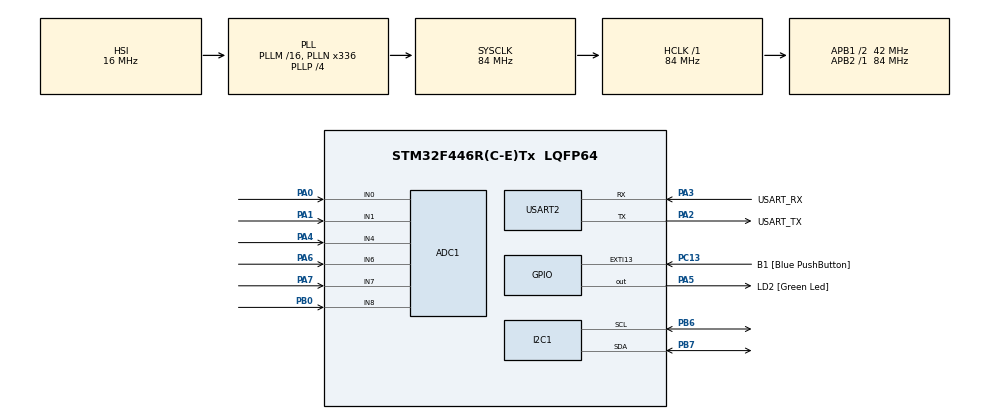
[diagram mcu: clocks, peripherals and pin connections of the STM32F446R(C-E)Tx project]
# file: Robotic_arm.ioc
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ADC1.Channel-0\#ChannelRegularConversion=ADC_CHANNEL_0
ADC1.Channel-1\#ChannelRegularConversion=ADC_CHANNEL_1
ADC1.Channel-2\#ChannelRegularConversion=ADC_CHANNEL_4
ADC1.Channel-3\#ChannelRegularConversion=ADC_CHANNEL_6
ADC1.Channel-4\#ChannelRegularConversion=ADC_CHANNEL_7
ADC1.Channel-5\#ChannelRegularConversion=ADC_CHANNEL_8
ADC1.ContinuousConvMode=DISABLE
ADC1.NbrOfConversion=6
ADC1.NbrOfConversionFlag=1
ADC1.Rank-0\#ChannelRegularConversion=1
ADC1.Rank-1\#ChannelRegularConversion=2
ADC1.Rank-2\#ChannelRegularConversion=3
ADC1.Rank-3\#ChannelRegularConversion=4
ADC1.Rank-4\#ChannelRegularConversion=5
ADC1.Rank-5\#ChannelRegularConversion=6
ADC1.SamplingTime-0\#ChannelRegularConversion=ADC_SAMPLETIME_480CYCLES
ADC1.SamplingTime-1\#ChannelRegularConversion=ADC_SAMPLETIME_480CYCLES
ADC1.SamplingTime-2\#ChannelRegularConversion=ADC_SAMPLETIME_480CYCLES
ADC1.SamplingTime-3\#ChannelRegularConversion=ADC_SAMPLETIME_480CYCLES
ADC1.SamplingTime-4\#ChannelRegularConversion=ADC_SAMPLETIME_480CYCLES
ADC1.SamplingTime-5\#ChannelRegularConversion=ADC_SAMPLETIME_480CYCLES
ADC1.ScanConvMode=ENABLE
ADC1.master=1
Dma.ADC1.0.Direction=DMA_PERIPH_TO_MEMORY
Dma.ADC1.0.FIFOMode=DMA_FIFOMODE_DISABLE
Dma.ADC1.0.Instance=DMA2_Stream0
Dma.ADC1.0.MemDataAlignment=DMA_MDATAALIGN_HALFWORD
Dma.ADC1.0.MemInc=DMA_MINC_ENABLE
Dma.ADC1.0.Mode=DMA_CIRCULAR
Dma.ADC1.0.PeriphDataAlignment=DMA_PDATAALIGN_HALFWORD
Dma.ADC1.0.PeriphInc=DMA_PINC_DISABLE
Dma.ADC1.0.Priority=DMA_PRIORITY_LOW
Dma.Request0=ADC1
Mcu.Family=STM32F4
Mcu.Name=STM32F446R(C-E)Tx
Mcu.Package=LQFP64
NVIC.DMA2_Stream0_IRQn=true\:0\:0\:false\:false\:true\:false\:true\:true
NVIC.PriorityGroup=NVIC_PRIORITYGROUP_0
PA0-WKUP.Signal=ADCx_IN0
PA1.Signal=ADCx_IN1
PA13.GPIO_Label=TMS
PA13.Mode=Serial_Wire
PA13.Signal=SYS_JTMS-SWDIO
PA14.GPIO_Label=TCK
PA14.Mode=Serial_Wire
PA14.Signal=SYS_JTCK-SWCLK
PA2.GPIO_Label=USART_TX
PA2.Mode=Asynchronous
PA2.Signal=USART2_TX
PA3.GPIO_Label=USART_RX
PA3.Mode=Asynchronous
PA3.Signal=USART2_RX
PA4.Signal=ADCx_IN4
PA5.GPIO_Label=LD2 [Green Led]
PA5.Signal=GPIO_Output
PA6.Signal=ADCx_IN6
PA7.Signal=ADCx_IN7
PB0.Signal=ADCx_IN8
PB3.GPIO_Label=SWO
PB3.Signal=SYS_JTDO-SWO
PB6.Mode=I2C
PB6.Signal=I2C1_SCL
PB7.Mode=I2C
PB7.Signal=I2C1_SDA
PC13.GPIO_Label=B1 [Blue PushButton]
PC13.GPIO_ModeDefaultEXTI=GPIO_MODE_IT_FALLING
PC13.Signal=GPXTI13
PC14-OSC32_IN.Mode=LSE-External-Oscillator
PC14-OSC32_IN.Signal=RCC_OSC32_IN
PC15-OSC32_OUT.Mode=LSE-External-Oscillator
PC15-OSC32_OUT.Signal=RCC_OSC32_OUT
PH0-OSC_IN.Mode=HSE-External-Oscillator
PH0-OSC_IN.Signal=RCC_OSC_IN
PH1-OSC_OUT.Mode=HSE-External-Oscillator
PH1-OSC_OUT.Signal=RCC_OSC_OUT
ProjectManager.HeapSize=0x200
ProjectManager.StackSize=0x400
ProjectManager.TargetToolchain=STM32CubeIDE
RCC.48MHZClocksFreq_Value=84000000
RCC.AHBFreq_Value=84000000
RCC.APB1CLKDivider=RCC_HCLK_DIV2
RCC.APB1Freq_Value=42000000
RCC.APB1TimFreq_Value=84000000
RCC.APB2Freq_Value=84000000
RCC.APB2TimFreq_Value=84000000
RCC.CortexFreq_Value=84000000
RCC.FLatency-AdvancedSettings=FLASH_LATENCY_2
RCC.HCLKFreq_Value=84000000
RCC.HSE_VALUE=8000000
RCC.HSI_VALUE=16000000
RCC.PLLN=336
RCC.PLLP=RCC_PLLP_DIV4
RCC.SYSCLKFreq_VALUE=84000000
RCC.SYSCLKSource=RCC_SYSCLKSOURCE_PLLCLK
RCC.USBFreq_Value=168000000
RCC.VCOOutputFreq_Value=336000000
SH.ADCx_IN0.0=ADC1_IN0,IN0
SH.ADCx_IN1.0=ADC1_IN1,IN1
SH.ADCx_IN4.0=ADC1_IN4,IN4
SH.ADCx_IN6.0=ADC1_IN6,IN6
SH.ADCx_IN7.0=ADC1_IN7,IN7
SH.ADCx_IN8.0=ADC1_IN8,IN8
USART2.VirtualMode=VM_ASYNC
board=NUCLEO-F446RE

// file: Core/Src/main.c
/* USER CODE BEGIN Header */
/**
  ******************************************************************************
  * @file           : main.c
  * @brief          : Main program body
  ******************************************************************************
  * @attention
  *
  * Copyright (c) 2025 STMicroelectronics.
  * All rights reserved.
  *
  * This software is licensed under terms that can be found in the LICENSE file
  * in the root directory of this software component.
  * If no LICENSE file comes with this software, it is provided AS-IS.
  *
  ******************************************************************************
  */
/* USER CODE END Header */
#include "main.h"

ADC_HandleTypeDef hadc1;
DMA_HandleTypeDef hdma_adc1;

I2C_HandleTypeDef hi2c1;

UART_HandleTypeDef huart2;

/* USER CODE BEGIN PV */

uint16_t rawValues[6] = {0};  // ADC values buffer
char msg[50];  // UART message buffer

#define PCA9685_ADDRESS 0x80
// Datasheet link --> https://cdn-shop.adafruit.com/datasheets/PCA9685.pdf
#define PCA9685_MODE1         0x0         // as in the datasheet page no 10/52
#define PCA9685_PRE_SCALE     0xFE        // as in the datasheet page no 13/52
#define PCA9685_LED0_ON_L     0x6         // as in the datasheet page no 10/52
#define PCA9685_MODE1_SLEEP_BIT      4    // as in the datasheet page no 14/52
#define PCA9685_MODE1_AI_BIT         5    // as in the datasheet page no 14/52
#define PCA9685_MODE1_RESTART_BIT    7    // as in the datasheet page no 14/52

/* USER CODE END PV */

void SystemClock_Config(void);
static void MX_GPIO_Init(void);
static void MX_DMA_Init(void);
static void MX_USART2_UART_Init(void);
static void MX_ADC1_Init(void);
static void MX_I2C1_Init(void);

/* USER CODE BEGIN 0 */

void PCA9685_SetBit(uint8_t Register, uint8_t Bit, uint8_t Value)
{
  uint8_t readValue;
  // Read all 8 bits and set only one bit to 0/1 and write all 8 bits back
  HAL_I2C_Mem_Read(&hi2c1, PCA9685_ADDRESS, Register, 1, &readValue, 1, 10);
  if (Value == 0) readValue &= ~(1 << Bit);
  else readValue |= (1 << Bit);
  HAL_I2C_Mem_Write(&hi2c1, PCA9685_ADDRESS, Register, 1, &readValue, 1, 10);
  HAL_Delay(1);
}

void PCA9685_SetPWMFrequency(uint16_t frequency)
{
  uint8_t prescale;
  if(frequency >= 1526) prescale = 0x03;
  else if(frequency <= 24) prescale = 0xFF;
  //  internal 25 MHz oscillator as in the datasheet page no 1/52
  else prescale = 25000000 / (4096 * frequency);
  // prescale changes 3 to 255 for 1526Hz to 24Hz as in the datasheet page no 1/52
  PCA9685_SetBit(PCA9685_MODE1, PCA9685_MODE1_SLEEP_BIT, 1);
  HAL_I2C_Mem_Write(&hi2c1, PCA9685_ADDRESS, PCA9685_PRE_SCALE, 1, &prescale, 1, 10);
  PCA9685_SetBit(PCA9685_MODE1, PCA9685_MODE1_SLEEP_BIT, 0);
  PCA9685_SetBit(PCA9685_MODE1, PCA9685_MODE1_RESTART_BIT, 1);
}

void PCA9685_Init(uint16_t frequency)
{
  PCA9685_SetPWMFrequency(frequency); // 50 Hz for servo
  PCA9685_SetBit(PCA9685_MODE1, PCA9685_MODE1_AI_BIT, 1);
}

void PCA9685_SetPWM(uint8_t Channel, uint16_t OnTime, uint16_t OffTime)
{
  uint8_t registerAddress;
  uint8_t pwm[4];
  registerAddress = PCA9685_LED0_ON_L + (4 * Channel);
  // See example 1 in the datasheet page no 18/52
  pwm[0] = OnTime & 0xFF;
  pwm[1] = OnTime>>8;
  pwm[2] = OffTime & 0xFF;
  pwm[3] = OffTime>>8;
  HAL_I2C_Mem_Write(&hi2c1, PCA9685_ADDRESS, registerAddress, 1, pwm, 4, 10);
}

void PCA9685_SetServoAngle(uint8_t Channel, float Angle)
{
  float Value;
  // 50 Hz servo then 4095 Value --> 20 milliseconds
  // 0 degree --> 0.5 ms(102.4 Value) and 180 degree --> 2.5 ms(511.9 Value)
  Value = ((float)Angle / 4080.0) * (511.9 - 102.4) + 102.4;
  PCA9685_SetPWM(Channel, 0, (uint16_t)Value);
}

void HAL_ADC_ConvCpltCallback(ADC_HandleTypeDef *hadc)
{
    if (hadc->Instance == ADC1)
    {

    	PCA9685_SetServoAngle(0,rawValues[0]);
    	PCA9685_SetServoAngle(1,rawValues[1]);
    	PCA9685_SetServoAngle(2,rawValues[2]);
    	PCA9685_SetServoAngle(3,rawValues[3]);
    	PCA9685_SetServoAngle(4,rawValues[4]);
    	PCA9685_SetServoAngle(5,rawValues[5]);

        /* Restart ADC DMA (continuous mode) */
        HAL_ADC_Start_DMA(&hadc1, (uint32_t *)rawValues, 6);
    }
}

/* USER CODE END 0 */

int main(void)
{

  /* MCU Configuration--------------------------------------------------------*/

  /* Reset of all peripherals, Initializes the Flash interface and the Systick. */
  HAL_Init();

  /* Configure the system clock */
  SystemClock_Config();

  /* Initialize all configured peripherals */
  MX_GPIO_Init();
  MX_DMA_Init();
  MX_USART2_UART_Init();
  MX_ADC1_Init();
  MX_I2C1_Init();
  /* USER CODE BEGIN 2 */

  HAL_ADC_Start_DMA(&hadc1, (uint32_t *)rawValues, 6);
  PCA9685_Init(50);

  /* USER CODE END 2 */

  /* Infinite loop */
  while (1)
  {

  }
}

void SystemClock_Config(void)
{
  RCC_OscInitTypeDef RCC_OscInitStruct = {0};
  RCC_ClkInitTypeDef RCC_ClkInitStruct = {0};

  /** Configure the main internal regulator output voltage
  */
  __HAL_RCC_PWR_CLK_ENABLE();
  __HAL_PWR_VOLTAGESCALING_CONFIG(PWR_REGULATOR_VOLTAGE_SCALE3);

  /** Initializes the RCC Oscillators according to the specified parameters
  * in the RCC_OscInitTypeDef structure.
  */
  RCC_OscInitStruct.OscillatorType = RCC_OSCILLATORTYPE_HSI;
  RCC_OscInitStruct.HSIState = RCC_HSI_ON;
  RCC_OscInitStruct.HSICalibrationValue = RCC_HSICALIBRATION_DEFAULT;
  RCC_OscInitStruct.PLL.PLLState = RCC_PLL_ON;
  RCC_OscInitStruct.PLL.PLLSource = RCC_PLLSOURCE_HSI;
  RCC_OscInitStruct.PLL.PLLM = 16;
  RCC_OscInitStruct.PLL.PLLN = 336;
  RCC_OscInitStruct.PLL.PLLP = RCC_PLLP_DIV4;
  RCC_OscInitStruct.PLL.PLLQ = 2;
  RCC_OscInitStruct.PLL.PLLR = 2;
  if (HAL_RCC_OscConfig(&RCC_OscInitStruct) != HAL_OK)
  {
    Error_Handler();
  }

  /** Initializes the CPU, AHB and APB buses clocks
  */
  RCC_ClkInitStruct.ClockType = RCC_CLOCKTYPE_HCLK|RCC_CLOCKTYPE_SYSCLK
                              |RCC_CLOCKTYPE_PCLK1|RCC_CLOCKTYPE_PCLK2;
  RCC_ClkInitStruct.SYSCLKSource = RCC_SYSCLKSOURCE_PLLCLK;
  RCC_ClkInitStruct.AHBCLKDivider = RCC_SYSCLK_DIV1;
  RCC_ClkInitStruct.APB1CLKDivider = RCC_HCLK_DIV2;
  RCC_ClkInitStruct.APB2CLKDivider = RCC_HCLK_DIV1;

  if (HAL_RCC_ClockConfig(&RCC_ClkInitStruct, FLASH_LATENCY_2) != HAL_OK)
  {
    Error_Handler();
  }
}

static void MX_ADC1_Init(void)
{

  ADC_ChannelConfTypeDef sConfig = {0};

  /** Configure the global features of the ADC (Clock, Resolution, Data Alignment and number of conversion)
  */
  hadc1.Instance = ADC1;
  hadc1.Init.ClockPrescaler = ADC_CLOCK_SYNC_PCLK_DIV4;
  hadc1.Init.Resolution = ADC_RESOLUTION_12B;
  hadc1.Init.ScanConvMode = ENABLE;
  hadc1.Init.ContinuousConvMode = DISABLE;
  hadc1.Init.DiscontinuousConvMode = DISABLE;
  hadc1.Init.ExternalTrigConvEdge = ADC_EXTERNALTRIGCONVEDGE_NONE;
  hadc1.Init.ExternalTrigConv = ADC_SOFTWARE_START;
  hadc1.Init.DataAlign = ADC_DATAALIGN_RIGHT;
  hadc1.Init.NbrOfConversion = 6;
  hadc1.Init.DMAContinuousRequests = DISABLE;
  hadc1.Init.EOCSelection = ADC_EOC_SINGLE_CONV;
  if (HAL_ADC_Init(&hadc1) != HAL_OK)
  {
    Error_Handler();
  }

  /** Configure for the selected ADC regular channel its corresponding rank in the sequencer and its sample time.
  */
  sConfig.Channel = ADC_CHANNEL_0;
  sConfig.Rank = 1;
  sConfig.SamplingTime = ADC_SAMPLETIME_480CYCLES;
  if (HAL_ADC_ConfigChannel(&hadc1, &sConfig) != HAL_OK)
  {
    Error_Handler();
  }

  /** Configure for the selected ADC regular channel its corresponding rank in the sequencer and its sample time.
  */
  sConfig.Channel = ADC_CHANNEL_1;
  sConfig.Rank = 2;
  if (HAL_ADC_ConfigChannel(&hadc1, &sConfig) != HAL_OK)
  {
    Error_Handler();
  }

  /** Configure for the selected ADC regular channel its corresponding rank in the sequencer and its sample time.
  */
  sConfig.Channel = ADC_CHANNEL_4;
  sConfig.Rank = 3;
  if (HAL_ADC_ConfigChannel(&hadc1, &sConfig) != HAL_OK)
  {
    Error_Handler();
  }

  /** Configure for the selected ADC regular channel its corresponding rank in the sequencer and its sample time.
  */
  sConfig.Channel = ADC_CHANNEL_6;
  sConfig.Rank = 4;
  if (HAL_ADC_ConfigChannel(&hadc1, &sConfig) != HAL_OK)
  {
    Error_Handler();
  }

  /** Configure for the selected ADC regular channel its corresponding rank in the sequencer and its sample time.
  */
  sConfig.Channel = ADC_CHANNEL_7;
  sConfig.Rank = 5;
  if (HAL_ADC_ConfigChannel(&hadc1, &sConfig) != HAL_OK)
  {
    Error_Handler();
  }

  /** Configure for the selected ADC regular channel its corresponding rank in the sequencer and its sample time.
  */
  sConfig.Channel = ADC_CHANNEL_8;
  sConfig.Rank = 6;
  if (HAL_ADC_ConfigChannel(&hadc1, &sConfig) != HAL_OK)
  {
    Error_Handler();
  }

}

static void MX_I2C1_Init(void)
{

  hi2c1.Instance = I2C1;
  hi2c1.Init.ClockSpeed = 100000;
  hi2c1.Init.DutyCycle = I2C_DUTYCYCLE_2;
  hi2c1.Init.OwnAddress1 = 0;
  hi2c1.Init.AddressingMode = I2C_ADDRESSINGMODE_7BIT;
  hi2c1.Init.DualAddressMode = I2C_DUALADDRESS_DISABLE;
  hi2c1.Init.OwnAddress2 = 0;
  hi2c1.Init.GeneralCallMode = I2C_GENERALCALL_DISABLE;
  hi2c1.Init.NoStretchMode = I2C_NOSTRETCH_DISABLE;
  if (HAL_I2C_Init(&hi2c1) != HAL_OK)
  {
    Error_Handler();
  }

}

static void MX_USART2_UART_Init(void)
{

  huart2.Instance = USART2;
  huart2.Init.BaudRate = 115200;
  huart2.Init.WordLength = UART_WORDLENGTH_8B;
  huart2.Init.StopBits = UART_STOPBITS_1;
  huart2.Init.Parity = UART_PARITY_NONE;
  huart2.Init.Mode = UART_MODE_TX_RX;
  huart2.Init.HwFlowCtl = UART_HWCONTROL_NONE;
  huart2.Init.OverSampling = UART_OVERSAMPLING_16;
  if (HAL_UART_Init(&huart2) != HAL_OK)
  {
    Error_Handler();
  }

}

static void MX_DMA_Init(void)
{

  /* DMA controller clock enable */
  __HAL_RCC_DMA2_CLK_ENABLE();

  /* DMA interrupt init */
  /* DMA2_Stream0_IRQn interrupt configuration */
  HAL_NVIC_SetPriority(DMA2_Stream0_IRQn, 0, 0);
  HAL_NVIC_EnableIRQ(DMA2_Stream0_IRQn);

}

static void MX_GPIO_Init(void)
{
  GPIO_InitTypeDef GPIO_InitStruct = {0};

  /* GPIO Ports Clock Enable */
  __HAL_RCC_GPIOC_CLK_ENABLE();
  __HAL_RCC_GPIOH_CLK_ENABLE();
  __HAL_RCC_GPIOA_CLK_ENABLE();
  __HAL_RCC_GPIOB_CLK_ENABLE();

  /*Configure GPIO pin Output Level */
  HAL_GPIO_WritePin(LD2_GPIO_Port, LD2_Pin, GPIO_PIN_RESET);

  /*Configure GPIO pin : B1_Pin */
  GPIO_InitStruct.Pin = B1_Pin;
  GPIO_InitStruct.Mode = GPIO_MODE_IT_FALLING;
  GPIO_InitStruct.Pull = GPIO_NOPULL;
  HAL_GPIO_Init(B1_GPIO_Port, &GPIO_InitStruct);

  /*Configure GPIO pin : LD2_Pin */
  GPIO_InitStruct.Pin = LD2_Pin;
  GPIO_InitStruct.Mode = GPIO_MODE_OUTPUT_PP;
  GPIO_InitStruct.Pull = GPIO_NOPULL;
  GPIO_InitStruct.Speed = GPIO_SPEED_FREQ_LOW;
  HAL_GPIO_Init(LD2_GPIO_Port, &GPIO_InitStruct);

}

void Error_Handler(void)
{
  __disable_irq();
  while (1)
  {
  }
}
